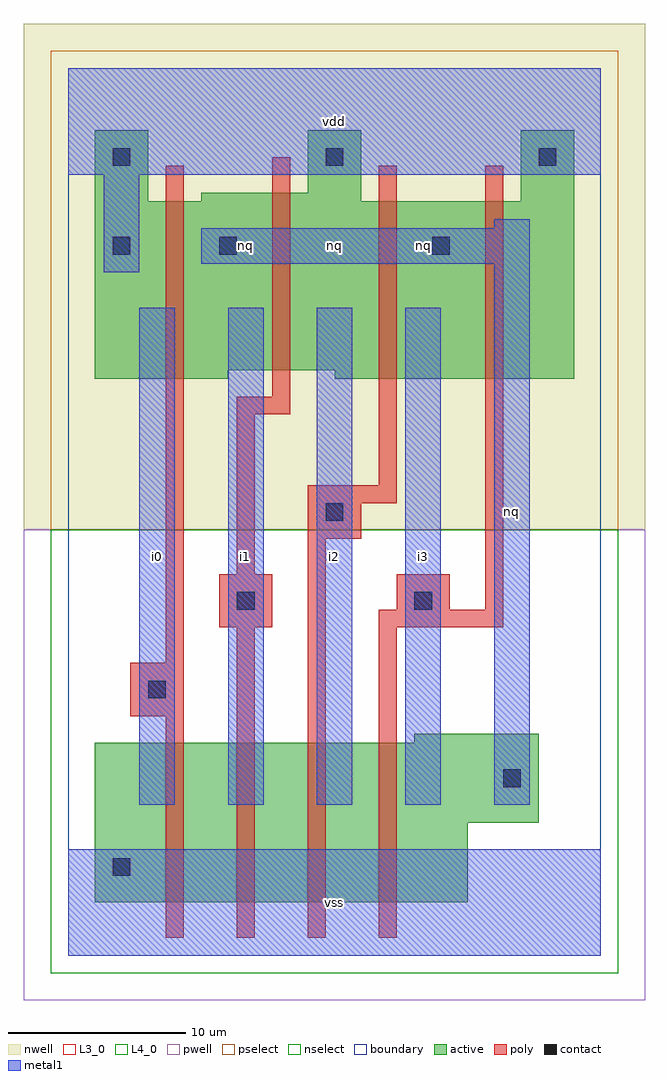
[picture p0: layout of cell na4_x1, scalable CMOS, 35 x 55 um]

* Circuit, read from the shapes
.subckt na4_x1 i0 i1 i2 i3 nq vdd vss
M1 n1 i0 vss VSUBS nfet w=9u l=1u
M2 n2 i1 n1 VSUBS nfet w=9u l=1u
M3 n3 i2 n2 VSUBS nfet w=9u l=1u
M4 nq i3 n3 VSUBS nfet w=9u l=1u
M5 nq i0 vdd n4 pfet w=10u l=1u
M6 vdd i1 nq n4 pfet w=10u l=1u
M7 nq i2 vdd n4 pfet w=10u l=1u
M8 vdd i3 nq n4 pfet w=10u l=1u
.ends

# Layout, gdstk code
import gdstk
lib = gdstk.Library(unit=1e-6, precision=1e-09)
def R(c, l, rs):  # rectangles x0, y0, x1, y1
    for r in rs: c.add(gdstk.rectangle(r[:2], r[2:], *l))
def A(c, l, x, y, w, h, nx, ny, dx, dy):  # array of equal rectangles
    R(c, l, [(x+i*dx, y+j*dy, x+i*dx+w, y+j*dy+h) for i in range(nx) for j in range(ny)])
L3_0 = (3, 0)
L4_0 = (4, 0)
contact = (25, 0)
pwell = (41, 0)
nwell = (42, 0)
active = (43, 0)
pselect = (44, 0)
nselect = (45, 0)
poly = (46, 0)
metal1 = (49, 0)
boundary = (63, 0)

na4_x1 = lib.new_cell('na4_x1')
R(na4_x1, L3_0, [(1.5,3,22.5,7.5), (1.5,7.5,26.5,12), (19.5,12,26.5,12.5)])
R(na4_x1, L4_0, [(1.5,32.5,9,33), (15,32.5,28.5,33), (1.5,33,28.5,42.5), (1.5,42.5,4.5,46.5), (7.5,42.5,16.5,43), (25.5,42.5,28.5,46.5), (13.5,43,16.5,46.5)])
A(na4_x1, contact, 2.5, 44.5, 1, 1, 3, 1, 12, 0)
R(na4_x1, contact, [(2.5,4.5,3.5,5.5), (24.5,9.5,25.5,10.5), (4.5,14.5,5.5,15.5), (9.5,19.5,10.5,20.5), (19.5,19.5,20.5,20.5), (14.5,24.5,15.5,25.5), (2.5,39.5,3.5,40.5), (8.5,39.5,9.5,40.5), (20.5,39.5,21.5,40.5)])
R(na4_x1, pwell, [(-2.5,-2.5,32.5,24)])
R(na4_x1, nwell, [(-2.5,24,32.5,52.5)])
R(na4_x1, active, [(1.5,3,22.5,7.5), (1.5,7.5,26.5,12), (19.5,12,26.5,12.5), (1.5,32.5,9,33), (15,32.5,28.5,33), (1.5,33,28.5,42.5), (1.5,42.5,4.5,46.5), (7.5,42.5,16.5,43), (25.5,42.5,28.5,46.5), (13.5,43,16.5,46.5)])
R(na4_x1, pselect, [(-1,24,31,51)])
R(na4_x1, nselect, [(-1,-1,31,24)])
R(na4_x1, poly, [(5.5,1,6.5,13.5), (9.5,1,10.5,18.5), (13.5,1,14.5,23.5), (17.5,1,18.5,18.5), (3.5,13.5,6.5,16.5), (5.5,16.5,6.5,44.5), (8.5,18.5,11.5,21.5), (17.5,18.5,24.5,19.5), (18.5,19.5,21.5,21.5), (23.5,19.5,24.5,44.5), (9.5,21.5,10.5,30.5), (13.5,23.5,16.5,25.5), (13.5,25.5,18.5,26.5), (17.5,26.5,18.5,44.5), (9.5,30.5,12.5,31.5), (11.5,31.5,12.5,45)])
R(na4_x1, metal1, [(0,0,30,6), (0,0,30,6), (4,8.5,6,36.5), (4,8.5,6,36.5), (9,8.5,11,36.5), (9,8.5,11,36.5), (14,8.5,16,36.5), (14,8.5,16,36.5), (19,8.5,21,36.5), (19,8.5,21,36.5), (24,8.5,26,39), (24,8.5,26,39), (2,38.5,4,44), (2,38.5,4,44), (7.5,39,26,41), (7.5,39,26,41), (24,41,26,41.5), (24,41,26,41.5), (0,44,30,50), (0,44,30,50)])
R(na4_x1, boundary, [(0,0,30,50)])
na4_x1.add(gdstk.Label('i0', (5,22.5), layer=49, texttype=0))
na4_x1.add(gdstk.Label('i1', (10,22.5), layer=49, texttype=0))
na4_x1.add(gdstk.Label('nq', (10,40), layer=49, texttype=0))
na4_x1.add(gdstk.Label('vss', (15,3), layer=49, texttype=0))
na4_x1.add(gdstk.Label('i2', (15,22.5), layer=49, texttype=0))
na4_x1.add(gdstk.Label('i3', (20,22.5), layer=49, texttype=0))
na4_x1.add(gdstk.Label('nq', (15,40), layer=49, texttype=0))
na4_x1.add(gdstk.Label('vdd', (15,47), layer=49, texttype=0))
na4_x1.add(gdstk.Label('nq', (20,40), layer=49, texttype=0))
na4_x1.add(gdstk.Label('nq', (25,25), layer=49, texttype=0))

lib.write_gds('na4_x1.gds')
